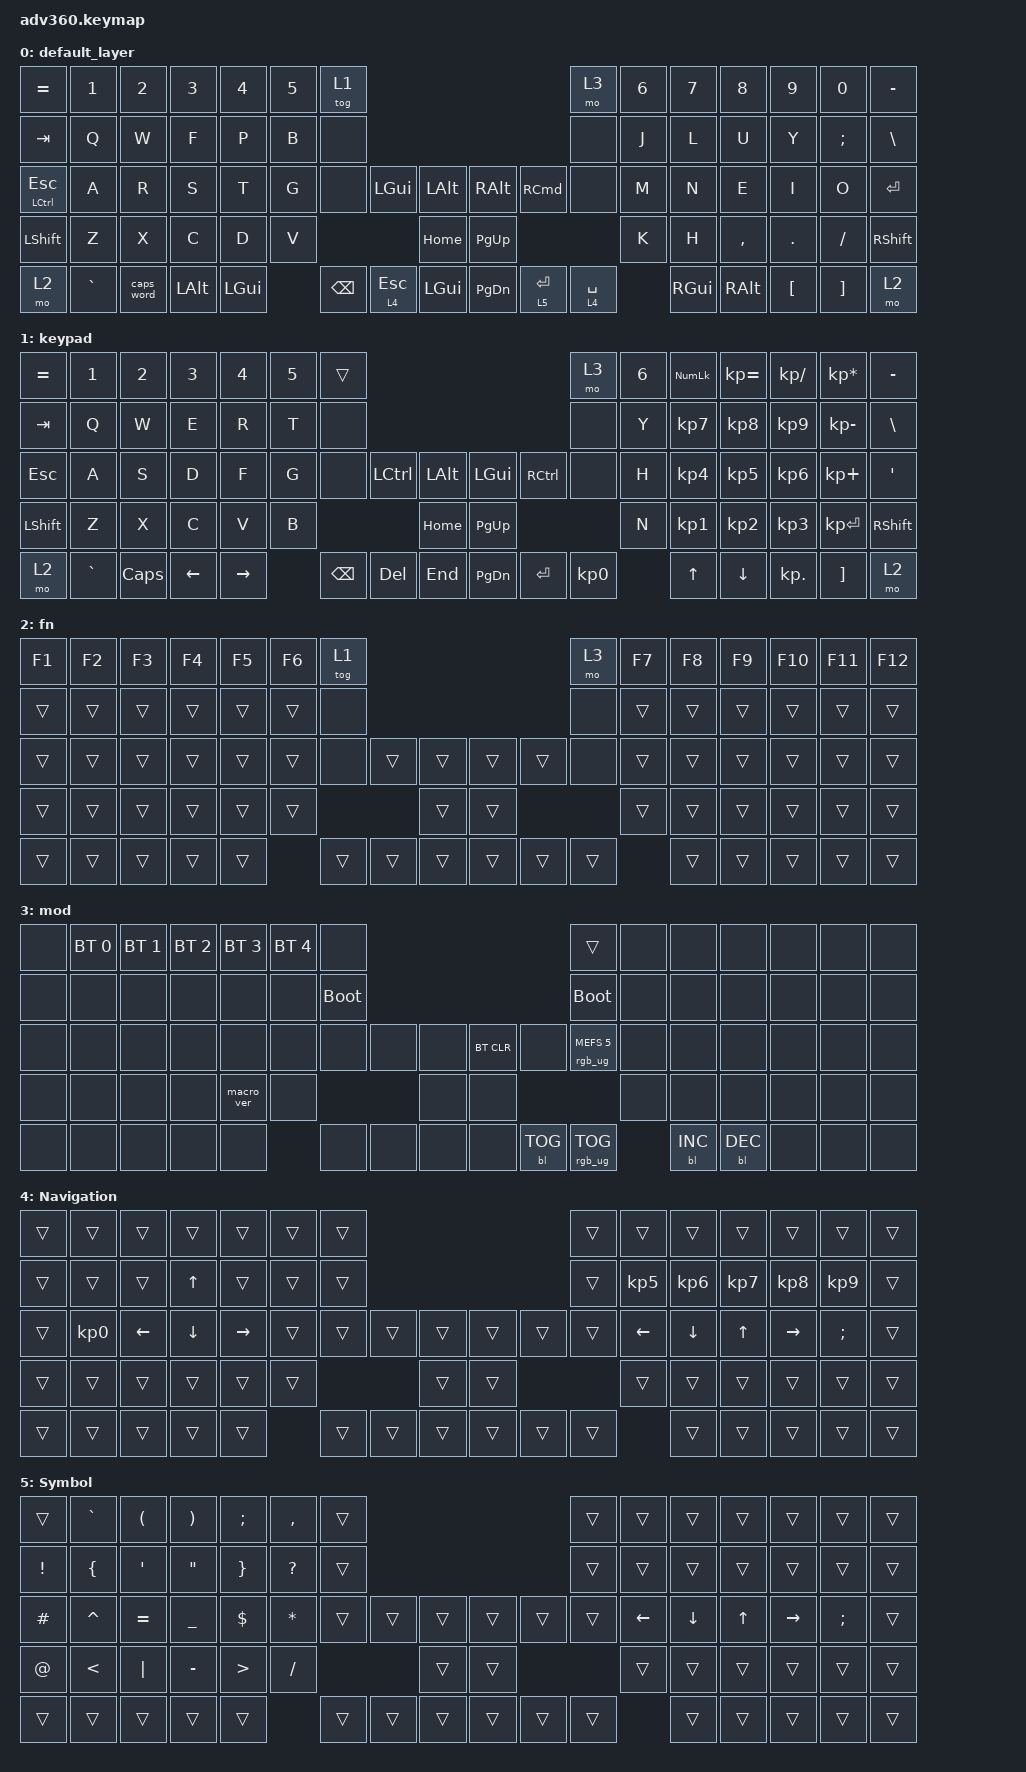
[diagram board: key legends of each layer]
#include <behaviors.dtsi>
#include <dt-bindings/zmk/backlight.h>
#include <dt-bindings/zmk/bt.h>
#include <dt-bindings/zmk/keys.h>
#include <dt-bindings/zmk/rgb.h>

/ {
    behaviors {
        #include "macros.dtsi"
      #include "version.dtsi"
      #ifndef VERSION_MACRO

        macro_ver: macro_ver {
            compatible = "zmk,behavior-macro";
            label = "macro_version";
            #binding-cells = <0>;
            bindings = <&kp RET>;
        };

        #endif

        hm: homerow_mods {
            compatible = "zmk,behavior-hold-tap";
            label = "HOMEROW_MODS";
            #binding-cells = <2>;
            tapping-term-ms = <200>;
            quick_tap_ms = <175>;
            flavor = "tap-preferred";
            bindings = <&kp>, <&kp>;
        };
    };

    macros {
    };

    keymap {
        compatible = "zmk,keymap";

        default_layer {
            bindings = <
&kp EQUAL         &kp N1     &kp N2      &kp N3        &kp N4        &kp N5  &tog 1                                                                      &mo 3        &kp N6  &kp N7         &kp N8         &kp N9    &kp N0         &kp MINUS
&kp TAB           &kp Q      &kp W       &kp F         &kp P         &kp B   &none                                                                       &none        &kp J   &kp L          &kp U          &kp Y     &kp SEMICOLON  &kp BSLH
&mt LCTRL ESCAPE  &kp A      &kp R       &kp S         &kp T         &kp G   &none     &kp LEFT_GUI  &kp LALT          &kp RIGHT_ALT  &kp RIGHT_COMMAND  &none        &kp M   &kp N          &kp E          &kp I     &kp O          &kp ENTER
&kp LSHFT         &kp Z      &kp X       &kp C         &kp D         &kp V                           &kp HOME          &kp PG_UP                                      &kp K   &kp H          &kp COMMA      &kp DOT   &kp FSLH       &kp RSHFT
&mo 2             &kp GRAVE  &caps_word  &kp LEFT_ALT  &kp LEFT_GUI          &kp BSPC  &lt 4 ESCAPE  &kp LEFT_GUI      &kp PG_DN      &lt 5 ENTER        &lt 4 SPACE          &kp RIGHT_GUI  &kp RIGHT_ALT  &kp LBKT  &kp RBKT       &mo 2
            >;
        };

        keypad {
            bindings = <
&kp EQUAL  &kp N1     &kp N2    &kp N3    &kp N4     &kp N5  &trans                                                   &mo 3      &kp N6  &kp KP_NUM  &kp KP_EQUAL  &kp KP_DIVIDE  &kp KP_MULTIPLY  &kp MINUS
&kp TAB    &kp Q      &kp W     &kp E     &kp R      &kp T   &none                                                    &none      &kp Y   &kp KP_N7   &kp KP_N8     &kp KP_N9      &kp KP_MINUS     &kp BSLH
&kp ESC    &kp A      &kp S     &kp D     &kp F      &kp G   &none     &kp LCTRL  &kp LALT      &kp LGUI   &kp RCTRL  &none      &kp H   &kp KP_N4   &kp KP_N5     &kp KP_N6      &kp KP_PLUS      &kp SQT
&kp LSHFT  &kp Z      &kp X     &kp C     &kp V      &kp B                        &kp HOME      &kp PG_UP                        &kp N   &kp KP_N1   &kp KP_N2     &kp KP_N3      &kp KP_ENTER     &kp RSHFT
&mo 2      &kp GRAVE  &kp CAPS  &kp LEFT  &kp RIGHT          &kp BSPC  &kp DEL    &kp END       &kp PG_DN  &kp ENTER  &kp KP_N0          &kp UP      &kp DOWN      &kp KP_DOT     &kp RBKT         &mo 2
            >;
        };

        fn {
            bindings = <
&kp F1  &kp F2  &kp F3  &kp F4  &kp F5  &kp F6  &tog 1                                      &mo 3   &kp F7  &kp F8  &kp F9  &kp F10  &kp F11  &kp F12
&trans  &trans  &trans  &trans  &trans  &trans  &none                                       &none   &trans  &trans  &trans  &trans   &trans   &trans
&trans  &trans  &trans  &trans  &trans  &trans  &none   &trans  &trans      &trans  &trans  &none   &trans  &trans  &trans  &trans   &trans   &trans
&trans  &trans  &trans  &trans  &trans  &trans                  &trans      &trans                  &trans  &trans  &trans  &trans   &trans   &trans
&trans  &trans  &trans  &trans  &trans          &trans  &trans  &trans      &trans  &trans  &trans          &trans  &trans  &trans   &trans   &trans
            >;
        };

        mod {
            bindings = <
&none  &bt BT_SEL 0  &bt BT_SEL 1  &bt BT_SEL 2  &bt BT_SEL 3  &bt BT_SEL 4  &none                                                  &trans                  &none  &none       &none       &none  &none  &none
&none  &none         &none         &none         &none         &none         &bootloader                                            &bootloader             &none  &none       &none       &none  &none  &none
&none  &none         &none         &none         &none         &none         &none        &none  &none      &bt BT_CLR  &none       &rgb_ug RGB_MEFS_CMD 5  &none  &none       &none       &none  &none  &none
&none  &none         &none         &none         &macro_ver    &none                             &none      &none                                           &none  &none       &none       &none  &none  &none
&none  &none         &none         &none         &none                       &none        &none  &none      &none       &bl BL_TOG  &rgb_ug RGB_TOG                &bl BL_INC  &bl BL_DEC  &none  &none  &none
            >;
        };

        Navigation {
            bindings = <
&trans  &trans           &trans    &trans    &trans     &trans  &trans                                      &trans  &trans           &trans           &trans           &trans           &trans           &trans
&trans  &trans           &trans    &kp UP    &trans     &trans  &trans                                      &trans  &kp KP_NUMBER_5  &kp KP_NUMBER_6  &kp KP_NUMBER_7  &kp KP_NUMBER_8  &kp KP_NUMBER_9  &trans
&trans  &kp KP_NUMBER_0  &kp LEFT  &kp DOWN  &kp RIGHT  &trans  &trans  &trans  &trans      &trans  &trans  &trans  &kp LEFT_ARROW   &kp DOWN         &kp UP           &kp RIGHT        &kp SEMI         &trans
&trans  &trans           &trans    &trans    &trans     &trans                  &trans      &trans                  &trans           &trans           &trans           &trans           &trans           &trans
&trans  &trans           &trans    &trans    &trans             &trans  &trans  &trans      &trans  &trans  &trans                   &trans           &trans           &trans           &trans           &trans
            >;
        };

        Symbol {
            bindings = <
&trans           &kp GRAVE       &kp LEFT_PARENTHESIS  &kp RIGHT_PARENTHESIS  &kp SEMICOLON     &kp COMMA     &trans                                      &trans  &trans    &trans    &trans  &trans     &trans         &trans
&kp EXCLAMATION  &kp LEFT_BRACE  &kp SQT               &kp DOUBLE_QUOTES      &kp RIGHT_BRACE   &kp QUESTION  &trans                                      &trans  &trans    &trans    &trans  &trans     &trans         &trans
&kp HASH         &kp CARET       &kp EQUAL             &kp UNDER              &kp DOLLAR        &kp ASTRK     &trans  &trans  &trans      &trans  &trans  &trans  &kp LEFT  &kp DOWN  &kp UP  &kp RIGHT  &kp SEMICOLON  &trans
&kp AT_SIGN      &kp LESS_THAN   &kp PIPE              &kp MINUS              &kp GREATER_THAN  &kp FSLH                      &trans      &trans                  &trans    &trans    &trans  &trans     &trans         &trans
&trans           &trans          &trans                &trans                 &trans                          &trans  &trans  &trans      &trans  &trans  &trans            &trans    &trans  &trans     &trans         &trans
            >;
        };
    };
};
